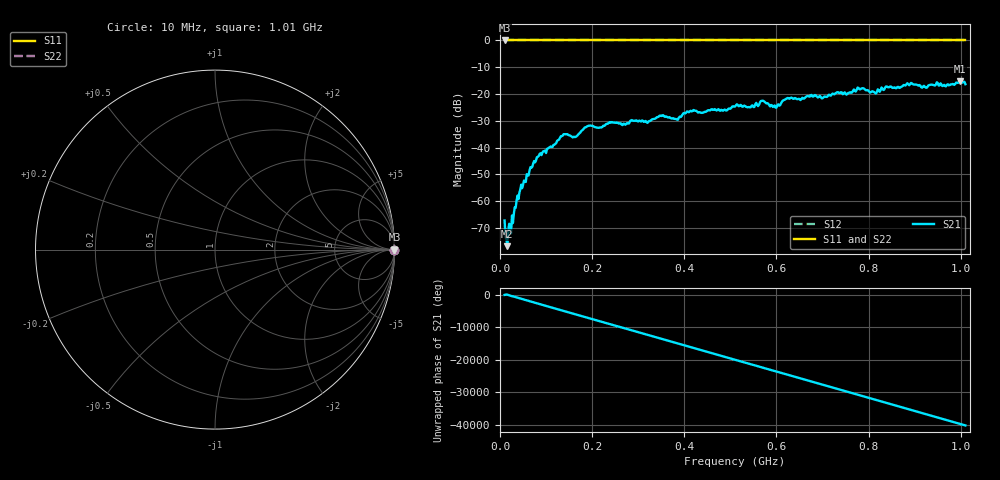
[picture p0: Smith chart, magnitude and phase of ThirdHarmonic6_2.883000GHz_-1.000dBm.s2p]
! 8/17/2025 7:54:58 AM
! C:\ANRITSUVNA\TEMP\TEMP.S2P
! CHANNEL.1
! TR.MEASUREMENT
! RAW.DATA
! RF.CORRECTION.OFF
! AVERAGING.OFF
! IF.BANDWIDTH: 5KHZ
! SWEEPTYPE:  FREQ.SWEEP(Linear)
! Reference Plane Port Info
! PORT:  PORT1  PORT2
! DISTANCE:  0  m  0  m
! TIME:  0  s  0  s
! PHASE.OFFSET:  0  deg.  0  deg.
! LOSS:  0  dB  0  dB
! REF.LOSS:  0  dB  0  dB
! REF.FREQ:  0  Hz  0  Hz
! Power Info
! POWER:  -20  dBm  -20  dBm
! EFF.POWER:  -20  dBm  -20  dBm
! SOURCE.ATTEN:  0  dB  0  dB
! TEST.ATTEN:  0  dB  0  dB
# GHZ S RI R 50.0
! FREQ.GHZ  S11RE  S11IM  S21RE  S21IM  S12RE  S12IM  S22RE  S22IM
!; PortSelection: Port_12
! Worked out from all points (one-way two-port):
!   501 points, 10 MHz to 1.01 GHz, reference 50 ohm
!   highest |S21| = -15.27 dB at 998 MHz (marker M1); lowest = -76.8 dB at 16 MHz (marker M2)
!   lowest |S11| = 0.0 dB at 10 MHz (marker M3)
!   |S11| at or under -10 dB: nowhere
!   |S22| runs from 0.0 to 0.0 dB; largest |S21 - S12| = 1.2
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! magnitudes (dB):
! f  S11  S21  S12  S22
! 10 MHz  0.0  -67.2  0.0  0.0
! 16 MHz  0.0  -76.8  0.0  0.0
! 26 MHz  0.0  -65.4  0.0  0.0
! 42 MHz  0.0  -56.9  0.0  0.0
! 84 MHz  0.0  -43.1  0.0  0.0
! 136 MHz  0.0  -35.6  0.0  0.0
! 162 MHz  0.0  -36.1  0.0  0.0
! 178 MHz  0.0  -33.6  0.0  0.0
! 344 MHz  0.0  -28.5  0.0  0.0
! 382 MHz  0.0  -29.4  0.0  0.0
! 416 MHz  0.0  -26.5  0.0  0.0
! 510 MHz  0.0  -24.7  0.0  0.0
! 540 MHz  0.0  -24.9  0.0  0.0
! 570 MHz  0.0  -22.5  0.0  0.0
! 596 MHz  0.0  -24.3  0.0  0.0
! 622 MHz  0.0  -21.7  0.0  0.0
! 678 MHz  0.0  -20.9  0.0  0.0
! 780 MHz  0.0  -18.2  0.0  0.0
! 814 MHz  0.0  -19.6  0.0  0.0
! 844 MHz  0.0  -17.5  0.0  0.0
! 998 MHz  0.0  -15.3  0.0  0.0
! 1.01 GHz  0.0  -16.3  0.0  0.0
